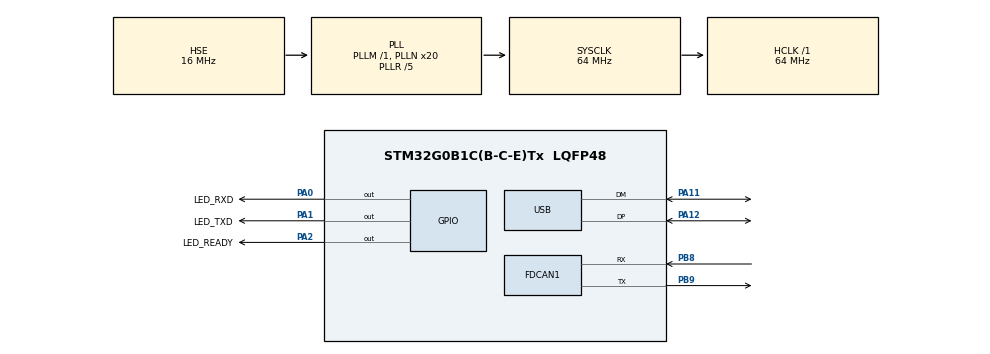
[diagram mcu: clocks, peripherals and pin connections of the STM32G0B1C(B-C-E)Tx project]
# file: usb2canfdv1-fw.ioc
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FDCAN1.AutoRetransmission=ENABLE
FDCAN1.CalculateBaudRateNominal=83333
FDCAN1.CalculateTimeBitNominal=12000
FDCAN1.CalculateTimeQuantumNominal=100.0
FDCAN1.DataPrescaler=2
FDCAN1.DataSyncJumpWidth=3
FDCAN1.DataTimeSeg1=10
FDCAN1.DataTimeSeg2=4
FDCAN1.ExtFiltersNbr=2
FDCAN1.NominalPrescaler=4
FDCAN1.NominalSyncJumpWidth=13
FDCAN1.NominalTimeSeg1=105
FDCAN1.NominalTimeSeg2=14
FDCAN1.ProtocolException=ENABLE
FDCAN1.StdFiltersNbr=2
Mcu.Family=STM32G0
Mcu.Name=STM32G0B1C(B-C-E)Tx
Mcu.Package=LQFP48
NVIC.TIM3_TIM4_IRQn=true\:3\:0\:true\:false\:true\:true\:true\:true
NVIC.USB_UCPD1_2_IRQn=true\:1\:0\:true\:false\:true\:true\:true\:true
PA0.GPIO_Label=LED_RXD
PA0.Signal=GPIO_Output
PA1.GPIO_Label=LED_TXD
PA1.Signal=GPIO_Output
PA11\ [PA9].Mode=Device
PA11\ [PA9].Signal=USB_DM
PA12\ [PA10].Mode=Device
PA12\ [PA10].Signal=USB_DP
PA13.Mode=Serial_Wire
PA13.Signal=SYS_SWDIO
PA14-BOOT0.Mode=Serial_Wire
PA14-BOOT0.Signal=SYS_SWCLK
PA2.GPIO_Label=LED_READY
PA2.Signal=GPIO_Output
PB8.Mode=FDCAN_Activate
PB8.Signal=FDCAN1_RX
PB9.GPIO_Speed=GPIO_SPEED_FREQ_HIGH
PB9.Mode=FDCAN_Activate
PB9.Signal=FDCAN1_TX
PF0-OSC_IN\ (PF0).Mode=HSE-External-Oscillator
PF0-OSC_IN\ (PF0).Signal=RCC_OSC_IN
PF1-OSC_OUT\ (PF1).Mode=HSE-External-Oscillator
PF1-OSC_OUT\ (PF1).Signal=RCC_OSC_OUT
ProjectManager.HeapSize=0x400
ProjectManager.StackSize=0x400
ProjectManager.TargetToolchain=STM32CubeIDE
RCC.ADCFreq_Value=64000000
RCC.AHBFreq_Value=64000000
RCC.CortexFreq_Value=64000000
RCC.EXTERNAL_CLOCK_VALUE=48000
RCC.FDCANCLockSelection=RCC_FDCANCLKSOURCE_PLL
RCC.HCLKFreq_Value=64000000
RCC.HSE_VALUE=16000000
RCC.HSI48_VALUE=48000000
RCC.HSI_VALUE=16000000
RCC.LSE_VALUE=32768
RCC.PLLN=20
RCC.PLLQ=RCC_PLLQ_DIV8
RCC.PLLR=RCC_PLLR_DIV5
RCC.PLLSourceVirtual=RCC_PLLSOURCE_HSE
RCC.SYSCLKFreq_VALUE=64000000
RCC.SYSCLKSource=RCC_SYSCLKSOURCE_PLLCLK
RCC.USBFreq_Value=48000000
RCC.VCOOutputFreq_Value=320000000
TIM3.Prescaler=63
USB_DEVICE.APP_RX_DATA_SIZE=64
USB_DEVICE.APP_TX_DATA_SIZE=64
USB_DEVICE.CLASS_NAME_FS=CDC
USB_DEVICE.PRODUCT_STRING_CDC_FS=CANFD to Virtual Com Adapter
USB_DEVICE.VirtualMode=Cdc
USB_DEVICE.VirtualModeFS=Cdc_FS
VP_RCC_USB.Mode=CRS SYNC Source USB
VP_SYS_VS_DBSignals.Mode=DisableDeadBatterySignals
VP_TIM3_VS_ClockSourceINT.Mode=Internal
VP_USB_DEVICE_VS_USB_DEVICE_CDC_FS.Mode=CDC_FS
board=custom

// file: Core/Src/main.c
/* USER CODE BEGIN Header */
/**
  ******************************************************************************
  * @file           : main.c
  * @brief          : Main program body
  ******************************************************************************
  * @attention
  *
  * Copyright (c) 2024 STMicroelectronics.
  * All rights reserved.
  *
  * This software is licensed under terms that can be found in the LICENSE file
  * in the root directory of this software component.
  * If no LICENSE file comes with this software, it is provided AS-IS.
  *
  ******************************************************************************
  */
/* USER CODE END Header */
#include "main.h"
#include "fdcan.h"
#include "tim.h"
#include "usb_device.h"
#include "gpio.h"

/* USER CODE BEGIN Includes */
#include "bootloader.h"
#include "usbd_cdc_if.h"
#include "buffer.h"
#include "can.h"
#include "led.h"
#include "nvm.h"
/* USER CODE END Includes */

void SystemClock_Config(void);

int main(void)
{

  /* USER CODE BEGIN 1 */
  bootloader_init();
  /* USER CODE END 1 */

  /* MCU Configuration--------------------------------------------------------*/

  /* Reset of all peripherals, Initializes the Flash interface and the Systick. */
  HAL_Init();

  /* USER CODE BEGIN Init */
  // Flash prefetch fails when a branch crosses the bank 1/2 boundary (0x08010000),
  // which the app image reaches once it exceeds ~38 kB (ES0548 2.2.10). HAL_Init()
  // has just enabled it from PREFETCH_ENABLE in stm32g0xx_hal_conf.h, a CubeMX
  // generated file that loses the setting on every re-generation (#50, #186), so
  // clear the bit here where the fix survives instead.
  __HAL_FLASH_PREFETCH_BUFFER_DISABLE();
  /* USER CODE END Init */

  /* Configure the system clock */
  SystemClock_Config();

  /* Initialize all configured peripherals */
  MX_GPIO_Init();
  MX_FDCAN1_Init();
  MX_USB_Device_Init();
  MX_TIM3_Init();
  /* USER CODE BEGIN 2 */
  led_init();
  buf_init();
  can_init();
  nvm_init();
  nvm_apply_startup_cfg();
  /* USER CODE END 2 */

  /* Infinite loop */
  while (1)
  {

    /* USER CODE BEGIN 3 */
    led_process();
    can_process();
    buf_process();
  }
  /* USER CODE END 3 */
}

void SystemClock_Config(void)
{
  RCC_OscInitTypeDef RCC_OscInitStruct = {0};
  RCC_ClkInitTypeDef RCC_ClkInitStruct = {0};
  RCC_CRSInitTypeDef pInit = {0};

  /** Configure the main internal regulator output voltage
  */
  HAL_PWREx_ControlVoltageScaling(PWR_REGULATOR_VOLTAGE_SCALE1);

  /** Initializes the RCC Oscillators according to the specified parameters
  * in the RCC_OscInitTypeDef structure.
  */
  RCC_OscInitStruct.OscillatorType = RCC_OSCILLATORTYPE_HSE|RCC_OSCILLATORTYPE_HSI48;
  RCC_OscInitStruct.HSEState = RCC_HSE_ON;
  RCC_OscInitStruct.HSI48State = RCC_HSI48_ON;
  RCC_OscInitStruct.PLL.PLLState = RCC_PLL_ON;
  RCC_OscInitStruct.PLL.PLLSource = RCC_PLLSOURCE_HSE;
  RCC_OscInitStruct.PLL.PLLM = RCC_PLLM_DIV1;
  RCC_OscInitStruct.PLL.PLLN = 20;
  RCC_OscInitStruct.PLL.PLLP = RCC_PLLP_DIV2;
  RCC_OscInitStruct.PLL.PLLQ = RCC_PLLQ_DIV8;
  RCC_OscInitStruct.PLL.PLLR = RCC_PLLR_DIV5;
  if (HAL_RCC_OscConfig(&RCC_OscInitStruct) != HAL_OK)
  {
    Error_Handler();
  }

  /** Initializes the CPU, AHB and APB buses clocks
  */
  RCC_ClkInitStruct.ClockType = RCC_CLOCKTYPE_HCLK|RCC_CLOCKTYPE_SYSCLK
                              |RCC_CLOCKTYPE_PCLK1;
  RCC_ClkInitStruct.SYSCLKSource = RCC_SYSCLKSOURCE_PLLCLK;
  RCC_ClkInitStruct.AHBCLKDivider = RCC_SYSCLK_DIV1;
  RCC_ClkInitStruct.APB1CLKDivider = RCC_HCLK_DIV1;

  if (HAL_RCC_ClockConfig(&RCC_ClkInitStruct, FLASH_LATENCY_2) != HAL_OK)
  {
    Error_Handler();
  }

  /** Enable the SYSCFG APB clock
  */
  __HAL_RCC_CRS_CLK_ENABLE();

  /** Configures CRS
  */
  pInit.Prescaler = RCC_CRS_SYNC_DIV1;
  pInit.Source = RCC_CRS_SYNC_SOURCE_USB;
  pInit.Polarity = RCC_CRS_SYNC_POLARITY_RISING;
  pInit.ReloadValue = __HAL_RCC_CRS_RELOADVALUE_CALCULATE(48000000,1000);
  pInit.ErrorLimitValue = 34;
  pInit.HSI48CalibrationValue = 32;

  HAL_RCCEx_CRSConfig(&pInit);
}

void Error_Handler(void)
{
  __disable_irq();
  while (1)
  {
  }
}
